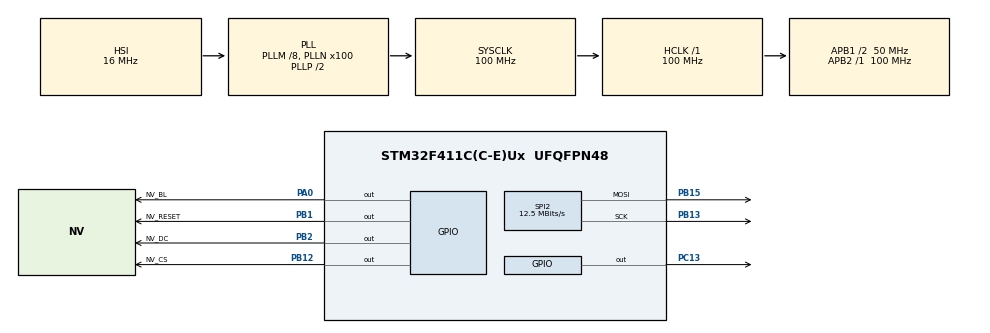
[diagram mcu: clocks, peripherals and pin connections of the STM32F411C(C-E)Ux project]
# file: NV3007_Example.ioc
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Mcu.Family=STM32F4
Mcu.Name=STM32F411C(C-E)Ux
Mcu.Package=UFQFPN48
NVIC.PriorityGroup=NVIC_PRIORITYGROUP_4
PA0-WKUP.GPIO_Label=NV_BL
PA0-WKUP.Signal=GPIO_Output
PA13.Mode=Serial_Wire
PA13.Signal=SYS_JTMS-SWDIO
PA14.Mode=Serial_Wire
PA14.Signal=SYS_JTCK-SWCLK
PB1.GPIO_Label=NV_RESET
PB1.PinState=GPIO_PIN_SET
PB1.Signal=GPIO_Output
PB12.GPIO_Label=NV_CS
PB12.GPIO_Speed=GPIO_SPEED_FREQ_VERY_HIGH
PB12.PinState=GPIO_PIN_SET
PB12.Signal=GPIO_Output
PB13.Mode=TX_Only_Simplex_Unidirect_Master
PB13.Signal=SPI2_SCK
PB15.Mode=TX_Only_Simplex_Unidirect_Master
PB15.Signal=SPI2_MOSI
PB2.GPIO_Label=NV_DC
PB2.GPIO_Speed=GPIO_SPEED_FREQ_VERY_HIGH
PB2.Signal=GPIO_Output
PC13-ANTI_TAMP.Signal=GPIO_Output
PH0\ -\ OSC_IN.Mode=HSE-External-Oscillator
PH0\ -\ OSC_IN.Signal=RCC_OSC_IN
PH1\ -\ OSC_OUT.Mode=HSE-External-Oscillator
PH1\ -\ OSC_OUT.Signal=RCC_OSC_OUT
ProjectManager.HeapSize=0x200
ProjectManager.StackSize=0x400
ProjectManager.TargetToolchain=STM32CubeIDE
RCC.48MHZClocksFreq_Value=50000000
RCC.AHBFreq_Value=100000000
RCC.APB1CLKDivider=RCC_HCLK_DIV2
RCC.APB1Freq_Value=50000000
RCC.APB1TimFreq_Value=100000000
RCC.APB2Freq_Value=100000000
RCC.APB2TimFreq_Value=100000000
RCC.CortexFreq_Value=100000000
RCC.HCLKFreq_Value=100000000
RCC.HSE_VALUE=25000000
RCC.HSI_VALUE=16000000
RCC.LSE_VALUE=32768
RCC.PLLM=8
RCC.PLLN=100
RCC.SYSCLKFreq_VALUE=100000000
RCC.SYSCLKSource=RCC_SYSCLKSOURCE_PLLCLK
RCC.VCOOutputFreq_Value=200000000
SPI2.BaudRatePrescaler=SPI_BAUDRATEPRESCALER_4
SPI2.CalculateBaudRate=12.5 MBits/s
SPI2.Direction=SPI_DIRECTION_2LINES
SPI2.Mode=SPI_MODE_MASTER
SPI2.VirtualType=VM_MASTER
board=custom

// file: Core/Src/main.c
/* USER CODE BEGIN Header */
/**
  ******************************************************************************
  * @file           : main.c
  * @brief          : Main program body
  ******************************************************************************
  * @attention
  *
  * Copyright (c) 2026 STMicroelectronics.
  * All rights reserved.
  *
  * This software is licensed under terms that can be found in the LICENSE file
  * in the root directory of this software component.
  * If no LICENSE file comes with this software, it is provided AS-IS.
  *
  ******************************************************************************
  */
/* USER CODE END Header */
#include "main.h"

/* USER CODE BEGIN Includes */
#include "NV3007.h"
#include <stdio.h>
#include <string.h>
/* USER CODE END Includes */

/* USER CODE BEGIN PD */
/* -- Parámetros de la batería de pruebas -- */
#define TEST_TITLE_MS         800U   /**< Tiempo en pantalla del cartel de cada test */
#define TEST_FAIL_DWELL_MS    500U   /**< LED encendido cuando una comprobación falla */

/* USER CODE END PD */

/* USER CODE BEGIN PM */
#define NV_CHECK(x)  do { if ((x) != NV3007_OK) { Error_Handler(); } } while (0)
/* Para los tests de error: la llamada debe devolver exactamente el estado esperado */
#define NV_EXPECT(x, st)  do { if ((x) != (st)) { Error_Handler(); } } while (0)

/* USER CODE END PM */

SPI_HandleTypeDef hspi2;

/* USER CODE BEGIN PV */

NV3007_Status_t status;

/* Orientación activa del panel, para poder restaurar la que había antes de los
 * tests que cambian la rotación */
static NV3007_Orientation_t Test_Orientation = NV3007_Orientation_Landscape_1;

/* USER CODE END PV */

void SystemClock_Config(void);
static void MX_GPIO_Init(void);
static void MX_SPI2_Init(void);
/* USER CODE BEGIN PFP */
static void NV3007_TestSuite(void);
static void NV3007_TestFonts(void);
static void NV3007_TestPutc(void);
static void NV3007_TestPixeles(void);
static void NV3007_TestLineas(void);
static void NV3007_TestRectangulos(void);
static void NV3007_TestTriangulos(void);
static void NV3007_TestCirculos(void);
static void NV3007_TestElipses(void);
static void NV3007_TestArc(void);
static void NV3007_TestBitmap(void);
static void NV3007_TestRotacion(void);
static void NV3007_TestOffset(void);
static void NV3007_TestInversion(void);
static void NV3007_TestEncendido(void);
static void NV3007_TestErrores(void);
static void NV3007_TestDeInit(void);
/* USER CODE END PFP */

int main(void)
{

  /* MCU Configuration--------------------------------------------------------*/

  /* Reset of all peripherals, Initializes the Flash interface and the Systick. */
  HAL_Init();

  /* Configure the system clock */
  SystemClock_Config();

  /* Initialize all configured peripherals */
  MX_GPIO_Init();
  MX_SPI2_Init();
  /* USER CODE BEGIN 2 */
  /* La librería no gestiona la retroiluminación: encenderla antes de dibujar */
  HAL_GPIO_WritePin(NV_BL_GPIO_Port, NV_BL_Pin, GPIO_PIN_SET);

  status = NV3007_Init(&hspi2,
		  	  	  	   NV_CS_GPIO_Port, NV_CS_Pin,
					   NV_DC_GPIO_Port, NV_DC_Pin,
					   NV_RESET_GPIO_Port, NV_RESET_Pin);
  if(status != NV3007_OK)
  {
	  Error_Handler();
  }
  else
  {
	  HAL_GPIO_WritePin(GPIOC, GPIO_PIN_13, GPIO_PIN_RESET);
  }

  NV_CHECK(NV3007_Rotate(Test_Orientation));
  /* USER CODE END 2 */

  /* Infinite loop */
  /* USER CODE BEGIN WHILE */
  while (1)
  {
	  NV3007_TestSuite();
    /* USER CODE END WHILE */

  }
}

void SystemClock_Config(void)
{
  RCC_OscInitTypeDef RCC_OscInitStruct = {0};
  RCC_ClkInitTypeDef RCC_ClkInitStruct = {0};

  /** Configure the main internal regulator output voltage
  */
  __HAL_RCC_PWR_CLK_ENABLE();
  __HAL_PWR_VOLTAGESCALING_CONFIG(PWR_REGULATOR_VOLTAGE_SCALE1);

  /** Initializes the RCC Oscillators according to the specified parameters
  * in the RCC_OscInitTypeDef structure.
  */
  RCC_OscInitStruct.OscillatorType = RCC_OSCILLATORTYPE_HSI;
  RCC_OscInitStruct.HSIState = RCC_HSI_ON;
  RCC_OscInitStruct.HSICalibrationValue = RCC_HSICALIBRATION_DEFAULT;
  RCC_OscInitStruct.PLL.PLLState = RCC_PLL_ON;
  RCC_OscInitStruct.PLL.PLLSource = RCC_PLLSOURCE_HSI;
  RCC_OscInitStruct.PLL.PLLM = 8;
  RCC_OscInitStruct.PLL.PLLN = 100;
  RCC_OscInitStruct.PLL.PLLP = RCC_PLLP_DIV2;
  RCC_OscInitStruct.PLL.PLLQ = 4;
  if (HAL_RCC_OscConfig(&RCC_OscInitStruct) != HAL_OK)
  {
    Error_Handler();
  }

  /** Initializes the CPU, AHB and APB buses clocks
  */
  RCC_ClkInitStruct.ClockType = RCC_CLOCKTYPE_HCLK|RCC_CLOCKTYPE_SYSCLK
                              |RCC_CLOCKTYPE_PCLK1|RCC_CLOCKTYPE_PCLK2;
  RCC_ClkInitStruct.SYSCLKSource = RCC_SYSCLKSOURCE_PLLCLK;
  RCC_ClkInitStruct.AHBCLKDivider = RCC_SYSCLK_DIV1;
  RCC_ClkInitStruct.APB1CLKDivider = RCC_HCLK_DIV2;
  RCC_ClkInitStruct.APB2CLKDivider = RCC_HCLK_DIV1;

  if (HAL_RCC_ClockConfig(&RCC_ClkInitStruct, FLASH_LATENCY_3) != HAL_OK)
  {
    Error_Handler();
  }
}

static void MX_SPI2_Init(void)
{

  /* SPI2 parameter configuration*/
  hspi2.Instance = SPI2;
  hspi2.Init.Mode = SPI_MODE_MASTER;
  hspi2.Init.Direction = SPI_DIRECTION_2LINES;
  hspi2.Init.DataSize = SPI_DATASIZE_8BIT;
  hspi2.Init.CLKPolarity = SPI_POLARITY_LOW;
  hspi2.Init.CLKPhase = SPI_PHASE_1EDGE;
  hspi2.Init.NSS = SPI_NSS_SOFT;
  hspi2.Init.BaudRatePrescaler = SPI_BAUDRATEPRESCALER_4;
  hspi2.Init.FirstBit = SPI_FIRSTBIT_MSB;
  hspi2.Init.TIMode = SPI_TIMODE_DISABLE;
  hspi2.Init.CRCCalculation = SPI_CRCCALCULATION_DISABLE;
  hspi2.Init.CRCPolynomial = 10;
  if (HAL_SPI_Init(&hspi2) != HAL_OK)
  {
    Error_Handler();
  }

}

static void MX_GPIO_Init(void)
{
  GPIO_InitTypeDef GPIO_InitStruct = {0};

  /* GPIO Ports Clock Enable */
  __HAL_RCC_GPIOC_CLK_ENABLE();
  __HAL_RCC_GPIOH_CLK_ENABLE();
  __HAL_RCC_GPIOA_CLK_ENABLE();
  __HAL_RCC_GPIOB_CLK_ENABLE();

  /*Configure GPIO pin Output Level */
  HAL_GPIO_WritePin(GPIOC, GPIO_PIN_13, GPIO_PIN_RESET);

  /*Configure GPIO pin Output Level */
  HAL_GPIO_WritePin(NV_BL_GPIO_Port, NV_BL_Pin, GPIO_PIN_RESET);

  /*Configure GPIO pin Output Level */
  HAL_GPIO_WritePin(GPIOB, NV_RESET_Pin|NV_CS_Pin, GPIO_PIN_SET);

  /*Configure GPIO pin Output Level */
  HAL_GPIO_WritePin(NV_DC_GPIO_Port, NV_DC_Pin, GPIO_PIN_RESET);

  /*Configure GPIO pin : PC13 */
  GPIO_InitStruct.Pin = GPIO_PIN_13;
  GPIO_InitStruct.Mode = GPIO_MODE_OUTPUT_PP;
  GPIO_InitStruct.Pull = GPIO_NOPULL;
  GPIO_InitStruct.Speed = GPIO_SPEED_FREQ_LOW;
  HAL_GPIO_Init(GPIOC, &GPIO_InitStruct);

  /*Configure GPIO pin : NV_BL_Pin */
  GPIO_InitStruct.Pin = NV_BL_Pin;
  GPIO_InitStruct.Mode = GPIO_MODE_OUTPUT_PP;
  GPIO_InitStruct.Pull = GPIO_NOPULL;
  GPIO_InitStruct.Speed = GPIO_SPEED_FREQ_LOW;
  HAL_GPIO_Init(NV_BL_GPIO_Port, &GPIO_InitStruct);

  /*Configure GPIO pin : NV_RESET_Pin */
  GPIO_InitStruct.Pin = NV_RESET_Pin;
  GPIO_InitStruct.Mode = GPIO_MODE_OUTPUT_PP;
  GPIO_InitStruct.Pull = GPIO_NOPULL;
  GPIO_InitStruct.Speed = GPIO_SPEED_FREQ_LOW;
  HAL_GPIO_Init(NV_RESET_GPIO_Port, &GPIO_InitStruct);

  /*Configure GPIO pins : NV_DC_Pin NV_CS_Pin */
  GPIO_InitStruct.Pin = NV_DC_Pin|NV_CS_Pin;
  GPIO_InitStruct.Mode = GPIO_MODE_OUTPUT_PP;
  GPIO_InitStruct.Pull = GPIO_NOPULL;
  GPIO_InitStruct.Speed = GPIO_SPEED_FREQ_VERY_HIGH;
  HAL_GPIO_Init(GPIOB, &GPIO_InitStruct);

}

/* USER CODE BEGIN 4 */

static void NV3007_TestSuite(void)
{
	NV3007_TestFonts();
	HAL_Delay(2000);

	NV3007_TestPutc();
	HAL_Delay(2000);

	NV3007_TestPixeles();
	HAL_Delay(2000);

	NV3007_TestLineas();
	HAL_Delay(2000);

	NV3007_TestRectangulos();
	HAL_Delay(2000);

	NV3007_TestTriangulos();
	HAL_Delay(2000);

	NV3007_TestCirculos();
	HAL_Delay(2000);

	NV3007_TestElipses();
	HAL_Delay(2000);

	NV3007_TestArc();
	HAL_Delay(2000);

	NV3007_TestBitmap();
	HAL_Delay(2000);

	NV3007_TestRotacion();
	HAL_Delay(2000);

	NV3007_TestOffset();
	HAL_Delay(2000);

	NV3007_TestInversion();
	HAL_Delay(2000);

	NV3007_TestEncendido();
	HAL_Delay(2000);

	NV3007_TestErrores();
	HAL_Delay(2000);

	NV3007_TestDeInit();
	HAL_Delay(2000);
}

static void NV3007_TestFonts(void)
{
	const uint16_t bg = NV3007_COLOR_BLACK;
	uint16_t tw, th;

	/* -- Texto con las tres fuentes y colores distintos -- */
	NV_CHECK(NV3007_FillScreen(bg));
	NV_CHECK(NV3007_Puts(0, 0, "NV3007 TEST", &LCD_Font_16x26, NV3007_COLOR_WHITE, bg));
	NV_CHECK(NV3007_Puts(0, 30, "Font 11x18", &LCD_Font_11x18, NV3007_COLOR_YELLOW, bg));
	NV_CHECK(NV3007_Puts(0, 52, "Font 7x10", &LCD_Font_7x10, NV3007_COLOR_CYAN, bg));
	NV_CHECK(NV3007_Puts(0, 66, "ABCDEFGHIJKLMNOPQRSTUVWXYZ\nabcdefghijklmnopqrstuvwxyz\n0123456789 !?#$%&()*+-=",
						 &LCD_Font_7x10, NV3007_COLOR_WHITE, bg));

	/* Esquina inferior derecha: verifica GetStringSize y los bordes */
	NV3007_GetStringSize("Fin", &LCD_Font_11x18, &tw, &th);
	NV_CHECK(NV3007_Puts(NV3007_GetWidth() - tw, NV3007_GetHeight() - th, "Fin",
						 &LCD_Font_11x18, NV3007_COLOR_BLACK, NV3007_COLOR_GREEN));
}

static void NV3007_TestPutc(void)
{
	const uint16_t bg = NV3007_COLOR_BLACK;
	const uint16_t w  = NV3007_GetWidth();
	const uint16_t h  = NV3007_GetHeight();
	LCD_FontDef_t* f  = &LCD_Font_11x18;

	/* -- Caracteres sueltos colocados a mano, avanzando FontWidth columnas -- */
	NV_CHECK(NV3007_FillScreen(bg));
	for (char c = 'A'; c <= 'J'; c++)
	{
		NV_CHECK(NV3007_Putc((uint16_t)(c - 'A') * f->FontWidth, 0, c, f, NV3007_COLOR_WHITE, bg));
	}

	/* -- Salto automático: la celda no cabe a 3 px del borde derecho -> sale en x = 0, y = 30 + FontHeight -- */
	NV_CHECK(NV3007_Putc(w - 3, 30, 'W', f, NV3007_COLOR_YELLOW, bg));

	/* -- Última celda que cabe, pegada a la esquina inferior derecha -- */
	NV_CHECK(NV3007_Putc(w - f->FontWidth, h - f->FontHeight, 'Z', f, NV3007_COLOR_BLACK, NV3007_COLOR_GREEN));

	/* -- No imprimibles: se ignoran y devuelven OK sin pintar (no debe verse ningún bloque rojo) -- */
	NV_CHECK(NV3007_Putc(0, 80, '\n', f, NV3007_COLOR_RED, NV3007_COLOR_RED));
	NV_CHECK(NV3007_Putc(0, 80, (char)127, f, NV3007_COLOR_RED, NV3007_COLOR_RED));

	/* -- Errores: fuente NULL y celda que se sale 1 px por abajo -- */
	NV_EXPECT(NV3007_Putc(0, 0, 'X', NULL, NV3007_COLOR_RED, bg), NV3007_INVALID_PARAM);
	NV_EXPECT(NV3007_Putc(0, h - f->FontHeight + 1, 'X', f, NV3007_COLOR_RED, bg), NV3007_INVALID_PARAM);
}

static void NV3007_TestPixeles(void)
{
	const int16_t w = (int16_t)NV3007_GetWidth();
	const int16_t h = (int16_t)NV3007_GetHeight();

	/* -- Rejilla de puntos cada 4 px: DrawPixel en la mitad izquierda (blanco), WritePixel en la derecha (amarillo) -- */
	NV_CHECK(NV3007_FillScreen(NV3007_COLOR_BLACK));
	for (int16_t y = 0; y < h; y += 4)
	{
		for (int16_t x = 0; x < w / 2; x += 4)
		{
			NV_CHECK(NV3007_DrawPixel(x, y, NV3007_COLOR_WHITE));
			NV_CHECK(NV3007_WritePixel(w / 2 + x, y, NV3007_COLOR_YELLOW));
		}
	}

	/* -- Un píxel rojo en cada esquina: deben verse los cuatro, pegados al borde -- */
	NV_CHECK(NV3007_WritePixel(0, 0, NV3007_COLOR_RED));
	NV_CHECK(NV3007_WritePixel(w - 1, 0, NV3007_COLOR_RED));
	NV_CHECK(NV3007_WritePixel(0, h - 1, NV3007_COLOR_RED));
	NV_CHECK(NV3007_WritePixel(w - 1, h - 1, NV3007_COLOR_RED));

	/* -- Fuera de pantalla: se descartan en silencio y devuelven OK -- */
	NV_CHECK(NV3007_DrawPixel(-1, 0, NV3007_COLOR_RED));
	NV_CHECK(NV3007_DrawPixel(0, -1, NV3007_COLOR_RED));
	NV_CHECK(NV3007_WritePixel(w, 0, NV3007_COLOR_RED));
	NV_CHECK(NV3007_WritePixel(0, h, NV3007_COLOR_RED));
}

static void NV3007_TestLineas(void)
{
	const uint16_t w = NV3007_GetWidth();
	const uint16_t h = NV3007_GetHeight();

	/* -- Lineas: marco, diagonales y ejes centrales -- */
	NV_CHECK(NV3007_FillScreen(NV3007_COLOR_BLACK));
	NV_CHECK(NV3007_DrawRectangle(0, 0, w, h, NV3007_COLOR_WHITE));
	NV_CHECK(NV3007_DrawLine(0, 0, w - 1, h - 1, NV3007_COLOR_RED));
	NV_CHECK(NV3007_DrawLine(0, h - 1, w - 1, 0, NV3007_COLOR_GREEN));
	NV_CHECK(NV3007_DrawFastHLine(0, h / 2, w, NV3007_COLOR_BLUE));
	NV_CHECK(NV3007_DrawFastVLine(w / 2, 0, h, NV3007_COLOR_YELLOW));
}

static void NV3007_TestRectangulos(void)
{
	const uint16_t w = NV3007_GetWidth();
	const uint16_t h = NV3007_GetHeight();
	const int16_t  q = w / 4;

	/* -- Rectangulos: contorno, relleno, redondeado y redondeado relleno (de izq. a der.).
	 *    El relleno va en dos mitades: DrawFilledRectangle arriba (rojo) y WriteFilledRectangle
	 *    abajo (naranja), anclado en la esquina inferior derecha con w/h negativos. Las dos
	 *    mitades deben quedar alineadas y sin hueco entre ellas -- */
	NV_CHECK(NV3007_FillScreen(NV3007_COLOR_BLACK));
	NV_CHECK(NV3007_DrawRectangle(0, 0, q - 4, h, NV3007_COLOR_WHITE));
	NV_CHECK(NV3007_DrawFilledRectangle(q, 0, q - 4, h / 2, NV3007_COLOR_RED));
	NV_CHECK(NV3007_WriteFilledRectangle(2 * q - 5, h - 1, -(q - 4), -(h - h / 2), NV3007_COLOR_ORANGE));
	NV_CHECK(NV3007_DrawRoundRect(2 * q, 0, q - 4, h, 15, NV3007_COLOR_GREEN));
	NV_CHECK(NV3007_DrawFilledRoundRect(3 * q, 0, w - 3 * q, h, 15, NV3007_COLOR_BLUE));
}

static void NV3007_TestTriangulos(void)
{
	const uint16_t w = NV3007_GetWidth();
	const uint16_t h = NV3007_GetHeight();

	/* -- Triangulos: contorno a la izquierda, relleno a la derecha (vértices en los bordes) -- */
	NV_CHECK(NV3007_FillScreen(NV3007_COLOR_BLACK));
	NV_CHECK(NV3007_DrawTriangle(w / 4, 0, 0, h - 1, w / 2 - 5, h - 1, NV3007_COLOR_WHITE));
	NV_CHECK(NV3007_DrawFilledTriangle(w / 2 + 4, 0, w - 1, 0, 3 * w / 4, h - 1, NV3007_COLOR_MAGENTA));
}

static void NV3007_TestCirculos(void)
{
	const uint16_t w = NV3007_GetWidth();
	const uint16_t h = NV3007_GetHeight();
	/* El radio lo limita el lado corto para que funcione en cualquier orientación */
	const int16_t  r = ((w < h) ? w : h) / 4 - 2;

	/* -- Circulos: contorno a la izquierda (toca el borde izq.), relleno a la derecha (toca el borde der.) -- */
	NV_CHECK(NV3007_FillScreen(NV3007_COLOR_BLACK));
	NV_CHECK(NV3007_DrawCircle(r, h / 2, r, NV3007_COLOR_WHITE));
	NV_CHECK(NV3007_DrawFilledCircle(w - 1 - r, h / 2, r, NV3007_COLOR_ORANGE));
}

static void NV3007_TestElipses(void)
{
	const uint16_t w = NV3007_GetWidth();
	const uint16_t h = NV3007_GetHeight();

	const int16_t  rx = w / 4 - 3;
	const int16_t  ry = h / 2 - 1;

	/* -- Elipses: contorno a la izquierda, relleno a la derecha (tocan bordes laterales, superior e inferior) -- */
	NV_CHECK(NV3007_FillScreen(NV3007_COLOR_BLACK));
	NV_CHECK(NV3007_DrawEllipse(rx, h / 2, rx, ry, NV3007_COLOR_WHITE));
	NV_CHECK(NV3007_DrawFilledEllipse(w - 1 - rx, h / 2, rx, ry, NV3007_COLOR_CYAN));
}

static void NV3007_TestArc(void)
{
	const uint16_t w = NV3007_GetWidth();
	const uint16_t h = NV3007_GetHeight();

	const int16_t  r1 = ((w < h) ? w : h) / 2 - 2;
	const int16_t  r2 = r1 / 2;

	/* -- Arcos: contorno a la izquierda (toca el borde izq.), relleno a la derecha (toca el borde der.) -- */
	NV_CHECK(NV3007_FillScreen(NV3007_COLOR_BLACK));
	NV_CHECK(NV3007_DrawArc(r1, h / 2, r1, r2, 0.0f, 270.0f, NV3007_COLOR_WHITE));
	NV_CHECK(NV3007_DrawFilledArc(w - 1 - r1, h / 2, r1, r2, 0.0f, 270.0f, NV3007_COLOR_GREEN));
}

static void NV3007_TestBitmap(void)
{
	const uint16_t w = NV3007_GetWidth();
	const uint16_t h = NV3007_GetHeight();

	/* "F" de 12x12: asimétrica para detectar espejos/rotaciones. Ancho no múltiplo
	 * de 8 -> 2 bytes por fila; los 4 bits de relleno (0x0F) van en 1 a propósito:
	 * si aparecen columnas extra a la derecha de la F, el relleno no se ignora. */
	static const uint8_t bmpF[] = {
		0xFF, 0xFF,
		0xFF, 0xFF,
		0xC0, 0x0F,
		0xC0, 0x0F,
		0xFF, 0x0F,
		0xFF, 0x0F,
		0xC0, 0x0F,
		0xC0, 0x0F,
		0xC0, 0x0F,
		0xC0, 0x0F,
		0xC0, 0x0F,
		0xC0, 0x0F,
	};
	const int16_t bw = 12;
	const int16_t bh = 12;

	/* -- Bitmaps: negro sobre blanco en las 4 esquinas (tocan los bordes) -- */
	NV_CHECK(NV3007_FillScreen(NV3007_COLOR_WHITE));
	NV_CHECK(NV3007_DrawBitmap(0, 0, bmpF, bw, bh, NV3007_COLOR_BLACK));
	NV_CHECK(NV3007_DrawBitmap(w - bw, 0, bmpF, bw, bh, NV3007_COLOR_BLACK));
	NV_CHECK(NV3007_DrawBitmap(0, h - bh, bmpF, bw, bh, NV3007_COLOR_BLACK));
	NV_CHECK(NV3007_DrawBitmap(w - bw, h - bh, bmpF, bw, bh, NV3007_COLOR_BLACK));

	/* -- Recorte: a medio salir por izquierda, arriba, derecha y abajo (sin error) -- */
	NV_CHECK(NV3007_DrawBitmap(-bw / 2, h / 2, bmpF, bw, bh, NV3007_COLOR_BLACK));
	NV_CHECK(NV3007_DrawBitmap(w / 2, -bh / 2, bmpF, bw, bh, NV3007_COLOR_BLACK));
	NV_CHECK(NV3007_DrawBitmap(w - bw / 2, h / 2, bmpF, bw, bh, NV3007_COLOR_BLACK));
	NV_CHECK(NV3007_DrawBitmap(w / 2, h - bh / 2, bmpF, bw, bh, NV3007_COLOR_BLACK));

	/* -- Color: rojo sobre un recuadro negro en el centro (los bits en 0 no pintan) -- */
	NV_CHECK(NV3007_DrawFilledRectangle(w / 2 - bw, h / 2 - bh, 2 * bw, 2 * bh, NV3007_COLOR_BLACK));
	NV_CHECK(NV3007_DrawBitmap(w / 2 - bw / 2, h / 2 - bh / 2, bmpF, bw, bh, NV3007_COLOR_RED));
}

static void NV3007_TestRotacion(void)
{
	static const NV3007_Orientation_t orientaciones[] = {
		NV3007_Orientation_Portrait_1,
		NV3007_Orientation_Landscape_1,
		NV3007_Orientation_Portrait_2,
		NV3007_Orientation_Landscape_2,
	};
	static const char* const nombres[] = { "Portrait 1", "Landscape 1", "Portrait 2", "Landscape 2" };

	/* -- Rotación: marco pegado al borde y nombre arriba a la izquierda en cada orientación.
	 *    Si el marco no se ve completo en alguna, hay que ajustar su NV3007_OFFSET_* -- */
	for (uint8_t i = 0; i < 4; i++)
	{
		NV_CHECK(NV3007_Rotate(orientaciones[i]));
		NV_CHECK(NV3007_FillScreen(NV3007_COLOR_NAVY));
		NV_CHECK(NV3007_DrawRectangle(0, 0, NV3007_GetWidth(), NV3007_GetHeight(), NV3007_COLOR_WHITE));
		NV_CHECK(NV3007_Puts(4, 4, nombres[i], &LCD_Font_11x18, NV3007_COLOR_WHITE, NV3007_COLOR_NAVY));
		HAL_Delay(1500);
	}

	/* Restaura la orientación de trabajo para el resto de los tests */
	NV_CHECK(NV3007_Rotate(Test_Orientation));
}

static void NV3007_TestOffset(void)
{
	/* -- Offset de GRAM: con SetOffset(0, 0) el marco sale corrido 12-14 px en el eje de 142 px
	 *    (un borde se sale del cristal y en el opuesto queda una franja negra sin pintar). Al
	 *    volver a rotar, NV3007_Rotate() recarga el offset de la tabla y el marco encaja -- */
	NV_CHECK(NV3007_FillScreen(NV3007_COLOR_BLACK));
	NV_CHECK(NV3007_SetOffset(0, 0));
	NV_CHECK(NV3007_FillScreen(NV3007_COLOR_NAVY));
	NV_CHECK(NV3007_DrawRectangle(0, 0, NV3007_GetWidth(), NV3007_GetHeight(), NV3007_COLOR_WHITE));
	NV_CHECK(NV3007_Puts(16, 16, "Offset 0,0", &LCD_Font_11x18, NV3007_COLOR_WHITE, NV3007_COLOR_NAVY));
	HAL_Delay(1500);

	NV_CHECK(NV3007_Rotate(Test_Orientation));
	NV_CHECK(NV3007_FillScreen(NV3007_COLOR_NAVY));
	NV_CHECK(NV3007_DrawRectangle(0, 0, NV3007_GetWidth(), NV3007_GetHeight(), NV3007_COLOR_WHITE));
	NV_CHECK(NV3007_Puts(16, 16, "Offset ok", &LCD_Font_11x18, NV3007_COLOR_WHITE, NV3007_COLOR_NAVY));
}

static void NV3007_TestInversion(void)
{
	static const uint16_t colores[] = {
		NV3007_COLOR_RED, NV3007_COLOR_LIME, NV3007_COLOR_BLUE, NV3007_COLOR_WHITE, NV3007_COLOR_BLACK
	};
	const uint8_t  n = sizeof(colores) / sizeof(colores[0]);
	const uint16_t w = NV3007_GetWidth();
	const uint16_t h = NV3007_GetHeight();

	/* -- Inversión: 5 franjas rojo/verde/azul/blanco/negro. Con InvertDisplay(true) pasan a
	 *    cian/magenta/amarillo/negro/blanco y con false vuelven a su color original -- */
	for (uint8_t i = 0; i < n; i++)
	{
		const int16_t x0 = i * w / n;
		const int16_t x1 = (i + 1) * w / n;
		NV_CHECK(NV3007_DrawFilledRectangle(x0, 0, x1 - x0, h, colores[i]));
	}
	HAL_Delay(1500);

	NV_CHECK(NV3007_InvertDisplay(true));
	HAL_Delay(1500);
	NV_CHECK(NV3007_InvertDisplay(false));
}

static void NV3007_TestEncendido(void)
{
	/* -- DisplayOff/On: la pantalla se apaga 1.5 s y al encender vuelve la misma imagen
	 *    (la GRAM se conserva en Sleep, no hace falta redibujar) -- */
	NV_CHECK(NV3007_FillScreen(NV3007_COLOR_DARKGREEN));
	NV_CHECK(NV3007_Puts(4, 4, "Display OFF/ON", &LCD_Font_7x10, NV3007_COLOR_WHITE, NV3007_COLOR_DARKGREEN));
	HAL_Delay(1000);

	NV_CHECK(NV3007_DisplayOff());
	HAL_Delay(1500);
	NV_CHECK(NV3007_DisplayOn());
}

static void NV3007_TestErrores(void)
{
	/* -- WriteAddrWindow: una ventana que se sale de la GRAM se rechaza sin enviar nada -- */
	NV_EXPECT(NV3007_WriteAddrWindow(0, 0, 1000U, 1U), NV3007_INVALID_PARAM);

	/* -- WriteAddrWindow válida: deja RAMWR abierto con CS bajo. FillScreen usa la misma
	 *    ventana (acierto de caché: solo reenvía RAMWR) y cierra la transacción -- */
	NV_CHECK(NV3007_WriteAddrWindow(0, 0, NV3007_GetWidth(), NV3007_GetHeight()));
	NV_CHECK(NV3007_FillScreen(NV3007_COLOR_DARKCYAN));

	/* -- Orientación fuera de rango -- */
	NV_EXPECT(NV3007_Rotate((NV3007_Orientation_t)4), NV3007_INVALID_PARAM);

	NV_CHECK(NV3007_Puts(4, 4, "Errores OK", &LCD_Font_11x18, NV3007_COLOR_WHITE, NV3007_COLOR_DARKCYAN));
}

static void NV3007_TestDeInit(void)
{
	/* -- DeInit apaga el panel y libera la configuración: las llamadas posteriores
	 *    deben devolver NOT_INITIALIZED sin tocar el bus -- */
	NV_CHECK(NV3007_DeInit());
	NV_EXPECT(NV3007_DeInit(), NV3007_NOT_INITIALIZED);
	NV_EXPECT(NV3007_FillScreen(NV3007_COLOR_RED), NV3007_NOT_INITIALIZED);
	NV_EXPECT(NV3007_DrawPixel(0, 0, NV3007_COLOR_RED), NV3007_NOT_INITIALIZED);
	NV_EXPECT(NV3007_Rotate(Test_Orientation), NV3007_NOT_INITIALIZED);
	NV_EXPECT(NV3007_DisplayOn(), NV3007_NOT_INITIALIZED);
	NV_EXPECT(NV3007_Init(NULL,
						  NV_CS_GPIO_Port, NV_CS_Pin,
						  NV_DC_GPIO_Port, NV_DC_Pin,
						  NV_RESET_GPIO_Port, NV_RESET_Pin), NV3007_INVALID_PARAM);
	HAL_Delay(1500);

	/* -- Re-Init: el driver debe poder arrancar de nuevo tras un DeInit -- */
	NV_CHECK(NV3007_Init(&hspi2,
						 NV_CS_GPIO_Port, NV_CS_Pin,
						 NV_DC_GPIO_Port, NV_DC_Pin,
						 NV_RESET_GPIO_Port, NV_RESET_Pin));
	NV_CHECK(NV3007_Rotate(Test_Orientation));
	NV_CHECK(NV3007_FillScreen(NV3007_COLOR_BLACK));
	NV_CHECK(NV3007_Puts(4, 4, "Re-Init OK", &LCD_Font_11x18, NV3007_COLOR_GREEN, NV3007_COLOR_BLACK));
}
/* USER CODE END 4 */

void Error_Handler(void)
{
  /* USER CODE BEGIN Error_Handler_Debug */
  /* User can add his own implementation to report the HAL error return state */
  while (1)
  {
	  HAL_GPIO_TogglePin(GPIOC, GPIO_PIN_13);
	  HAL_Delay(200);
  }
  /* USER CODE END Error_Handler_Debug */
}
